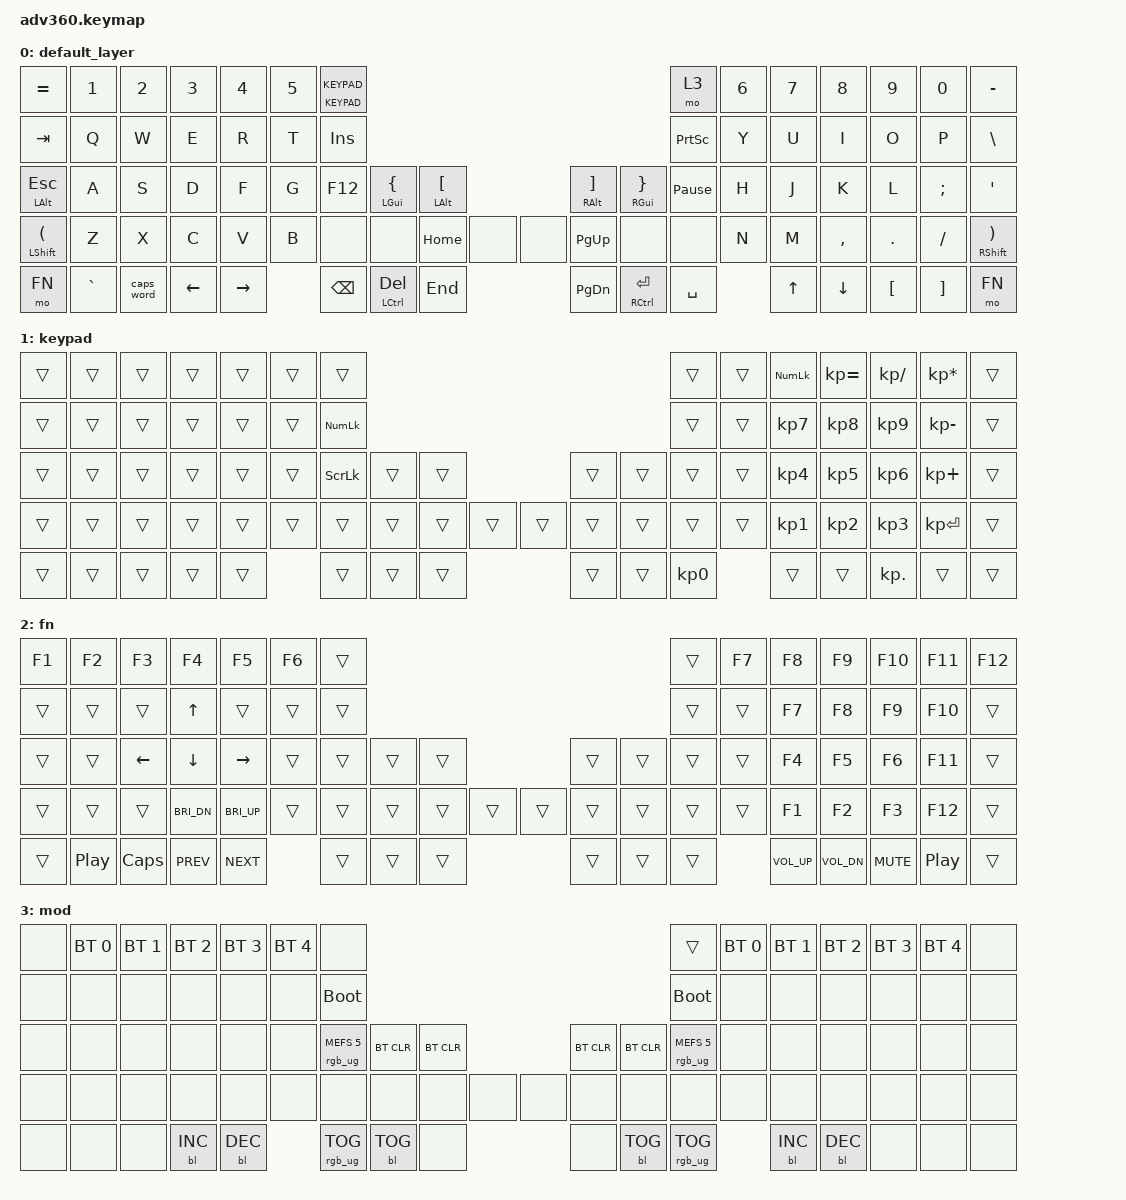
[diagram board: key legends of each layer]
#include <behaviors.dtsi>
#include <dt-bindings/zmk/keys.h>
#include <dt-bindings/zmk/bt.h>
#include <dt-bindings/zmk/rgb.h>
#include <dt-bindings/zmk/backlight.h>

// Layers
#define KEYPAD 1
#define FN 2

&caps_word {
  continue-list = <UNDERSCORE MINUS BACKSPACE DELETE>;
};

/ {
    behaviors {
      #include "macros.dtsi"

      hm: homerow_mods {
          compatible = "zmk,behavior-hold-tap";
          label = "HOMEROW_MODS";
          #binding-cells = <2>;
          tapping-term-ms = <200>;
          quick_tap_ms = <175>;
          flavor = "tap-preferred";
          bindings = <&kp>, <&kp>;
      };
      
      htl: hold_tap_layer {
          compatible = "zmk,behavior-hold-tap";
          label = "HOLD_TAP_LAYER";
          #binding-cells = <2>;
          tapping-term-ms = <200>;
          flavor = "hold-preferred";
          bindings = <&mo>, <&tog>;
      };
      
      htqt: hold_tap_quick_tap {
          compatible = "zmk,behavior-hold-tap";
          label = "HOLD_TAP_QUICK_TAP";
          #binding-cells = <2>;
          tapping-term-ms = <200>;
          quick-tap-ms = <175>;
          flavor = "hold-preferred";
          bindings = <&kp>, <&kp>;
      };

      sht: shift_hold_tap {
          compatible = "zmk,behavior-hold-tap";
          label = "SHIFT_HOLD_TAP";
          #binding-cells = <2>;
          flavor = "hold-preferred";
          tapping-term-ms = <200>;
          quick-tap-ms = <175>;
          bindings = <&kp>, <&kp>;
          // Hold for any key other than shift <46 65>
          hold-trigger-key-positions = <0 1 2 3 4 5 6 7 8 9 10 11 12 13 14 15 16 17 18 19 20 21 22 23 24 25 26 27 28 29 30 31 32 33 34 35 36 37 38 39 40 41 42 43 44 45 47 48 49 50 51 52 53 54 55 56 57 58 59 60 61 62 63 64 66 67 68 69 70 71 72 73 74 75 76 77 78 79 80 81>;
      };
    };

  keymap {
    compatible = "zmk,keymap";

    default_layer {
      bindings = <
        &kp EQUAL       &kp N1    &kp N2     &kp N3   &kp N4    &kp N5 &htl KEYPAD KEYPAD                                                                                              &mo 3           &kp N6 &kp N7 &kp N8    &kp N9   &kp N0   &kp MINUS
        &kp TAB         &kp Q     &kp W      &kp E    &kp R     &kp T  &kp INSERT                                                                                                      &kp PRINTSCREEN &kp Y  &kp U  &kp I     &kp O    &kp P    &kp BSLH
        &mt LALT ESC    &kp A     &kp S      &kp D    &kp F     &kp G  &kp F12                     &mt LGUI LBRC   &mt LALT LBKT             &mt RALT RBKT &mt RGUI RBRC               &kp PAUSE_BREAK &kp H  &kp J  &kp K     &kp L    &kp SEMI &kp SQT
        &sht LSHFT LPAR &kp Z     &kp X      &kp C    &kp V     &kp B                     &none    &none           &kp HOME      &none &none &kp PG_UP     &none             &none                     &kp N  &kp M  &kp COMMA &kp DOT  &kp FSLH &sht RSHFT RPAR
        &mo FN          &kp GRAVE &caps_word &kp LEFT &kp RIGHT                           &kp BSPC &htqt LCTRL DEL &kp END                   &kp PG_DN     &htqt RCTRL ENTER &kp SPACE                        &kp UP &kp DOWN  &kp LBKT &kp RBKT &mo FN
      >;
    };
    keypad {
      bindings = <
        &trans &trans &trans &trans &trans &trans &trans                                                                 &trans &trans &kp KP_NUM &kp KP_EQUAL &kp KP_DIVIDE &kp KP_MULTIPLY &trans
        &trans &trans &trans &trans &trans &trans &kp KP_NLCK                                                            &trans &trans &kp KP_N7  &kp KP_N8    &kp KP_N9     &kp KP_MINUS    &trans
        &trans &trans &trans &trans &trans &trans &kp SLCK           &trans &trans               &trans &trans           &trans &trans &kp KP_N4  &kp KP_N5    &kp KP_N6     &kp KP_PLUS     &trans
        &trans &trans &trans &trans &trans &trans             &trans &trans &trans &trans &trans &trans &trans &trans           &trans &kp KP_N1  &kp KP_N2    &kp KP_N3     &kp KP_ENTER    &trans
        &trans &trans &trans &trans &trans                    &trans &trans &trans               &trans &trans &kp KP_N0               &trans     &trans       &kp KP_DOT    &trans          &trans
      >;
    };
    fn {
      bindings = <
        &kp F1 &kp F2           &kp F3   &kp F4       &kp F5       &kp F6  &trans                                                         &trans &kp F7 &kp F8       &kp F9       &kp F10    &kp F11          &kp F12
        &trans &trans           &trans   &kp UP       &trans       &trans  &trans                                                         &trans &trans &kp F7       &kp F8       &kp F9     &kp F10          &trans
        &trans &trans           &kp LEFT &kp DOWN     &kp RIGHT    &trans  &trans        &trans &trans               &trans &trans        &trans &trans &kp F4       &kp F5       &kp F6     &kp F11          &trans
        &trans &trans           &trans   &kp C_BRI_DN &kp C_BRI_UP &trans         &trans &trans &trans &trans &trans &trans &trans &trans        &trans &kp F1       &kp F2       &kp F3     &kp F12          &trans
        &trans &kp C_PLAY_PAUSE &kp CAPS &kp C_PREV   &kp C_NEXT                  &trans &trans &trans               &trans &trans &trans               &kp C_VOL_UP &kp C_VOL_DN &kp C_MUTE &kp C_PLAY_PAUSE &trans
      >;
    };
    mod {
      bindings = <
        &none &bt BT_SEL 0 &bt BT_SEL 1 &bt BT_SEL 2 &bt BT_SEL 3 &bt BT_SEL 4 &none                                                                                                          &trans                 &bt BT_SEL 0 &bt BT_SEL 1 &bt BT_SEL 2 &bt BT_SEL 3 &bt BT_SEL 4 &none
        &none &none        &none        &none        &none        &none        &bootloader                                                                                                    &bootloader            &none        &none        &none        &none        &none        &none
        &none &none        &none        &none        &none        &none        &rgb_ug RGB_MEFS_CMD 5                 &bt BT_CLR &bt BT_CLR             &bt BT_CLR &bt BT_CLR                 &rgb_ug RGB_MEFS_CMD 5 &none        &none        &none        &none        &none        &none
        &none &none        &none        &none        &none        &none                               &none           &none      &none      &none &none &none      &none      &none                                  &none        &none        &none        &none        &none        &none
        &none &none        &none        &bl BL_INC   &bl BL_DEC                                       &rgb_ug RGB_TOG &bl BL_TOG &none                  &none      &bl BL_TOG &rgb_ug RGB_TOG                                     &bl BL_INC   &bl BL_DEC   &none        &none        &none
      >;
    };
  };
};
